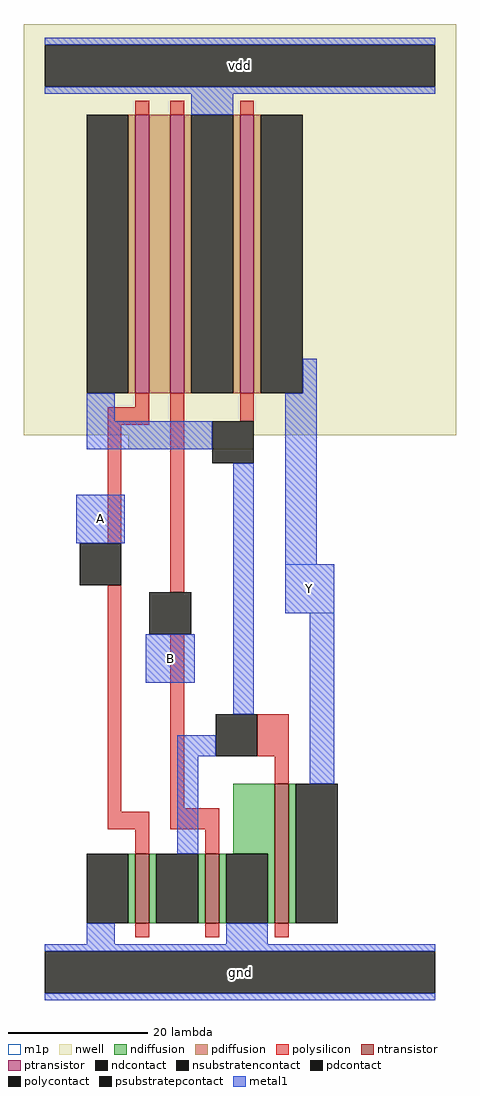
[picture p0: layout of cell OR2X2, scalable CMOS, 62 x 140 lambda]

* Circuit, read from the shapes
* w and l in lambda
.subckt OR2X2 A B Y vdd gnd
M1 n1 A gnd gnd nfet w=10 l=2
M2 gnd B n1 gnd nfet w=10 l=2
M3 Y n1 gnd gnd nfet w=20 l=2
M4 n2 A n1 vdd pfet w=40 l=2
M5 vdd B n2 vdd pfet w=40 l=2
M6 Y n1 vdd vdd pfet w=40 l=2
.ends

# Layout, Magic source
magic
tech scmos
magscale 1 2
<< nwell >>
rect -12 154 112 272
rect 18 150 54 154
<< ntransistor >>
rect 20 14 24 34
rect 40 14 44 34
rect 60 14 64 54
<< ptransistor >>
rect 20 166 24 246
rect 30 166 34 246
rect 50 166 54 246
<< ndiffusion >>
rect 48 34 60 54
rect 18 14 20 34
rect 24 14 26 34
rect 38 14 40 34
rect 44 14 46 34
rect 58 14 60 34
rect 64 14 66 54
<< pdiffusion >>
rect 18 166 20 246
rect 24 166 30 246
rect 34 166 36 246
rect 48 166 50 246
rect 54 166 56 246
<< ndcontact >>
rect 6 14 18 34
rect 26 14 38 34
rect 46 14 58 34
rect 66 14 78 54
<< pdcontact >>
rect 6 166 18 246
rect 36 166 48 246
rect 56 166 68 246
<< psubstratepcontact >>
rect -6 -6 106 6
<< nsubstratencontact >>
rect -6 254 106 266
<< polysilicon >>
rect 20 246 24 250
rect 30 246 34 250
rect 50 246 54 250
rect 20 162 24 166
rect 12 157 24 162
rect 12 123 16 157
rect 12 46 16 111
rect 30 109 34 166
rect 50 158 54 166
rect 30 47 34 97
rect 55 62 64 74
rect 60 54 64 62
rect 12 41 24 46
rect 30 41 44 47
rect 20 34 24 41
rect 40 34 44 41
rect 20 10 24 14
rect 40 10 44 14
rect 60 10 64 14
<< polycontact >>
rect 4 111 16 123
rect 42 146 54 158
rect 24 97 36 109
rect 43 62 55 74
<< metal1 >>
rect -6 266 106 268
rect -6 252 106 254
rect 36 246 48 252
rect 68 166 72 176
rect 6 158 14 166
rect 6 150 42 158
rect 3 123 17 137
rect 23 83 37 97
rect 48 74 54 146
rect 63 117 72 166
rect 63 103 77 117
rect 32 62 43 68
rect 32 34 38 62
rect 70 54 77 103
rect 6 8 14 14
rect 46 8 58 14
rect -6 6 106 8
rect -6 -8 106 -6
<< m1p >>
rect 3 123 17 137
rect 63 103 77 117
rect 23 83 37 97
<< labels >>
rlabel metal1 3 123 17 137 0 A
port 0 nsew signal input
rlabel metal1 63 103 77 117 0 Y
port 2 nsew signal output
rlabel metal1 -6 252 106 268 0 vdd
port 3 nsew power bidirectional abutment
rlabel metal1 -6 -8 106 8 0 gnd
port 4 nsew ground bidirectional abutment
rlabel metal1 23 83 37 97 0 B
port 1 nsew signal input
<< properties >>
string FIXED_BBOX 0 0 100 260
string LEFclass CORE
string LEFsite core
string LEFsymmetry X Y
<< end >>
